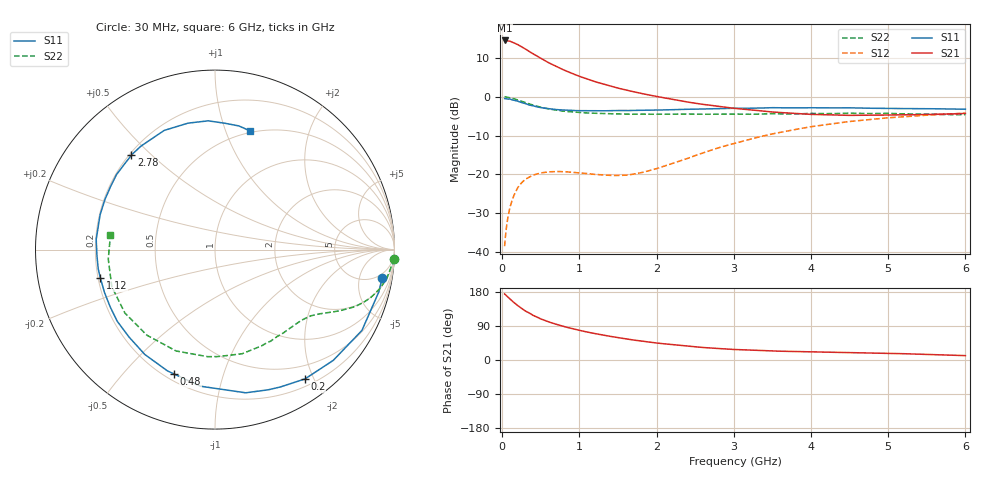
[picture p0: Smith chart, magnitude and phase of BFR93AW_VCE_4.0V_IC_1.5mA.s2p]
! Infineon Technologies  Discrete & RF Semiconductors
! BFR93AW
! VCE =  4.0 V,  IC =  1.5 mA
! Common Emitter S-Parameters:  Nov 2015
# GHz  S  MA  R  50
!  f  S11  S21  S12  S22
! GHz  MAG  ANG  MAG  ANG  MAG  ANG  MAG  ANG
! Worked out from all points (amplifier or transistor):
!   206 points, 30 MHz to 6 GHz, reference 50 ohm
!   highest |S21| = 14.4 dB at 30 MHz (marker M1)
!   |S21| within 3 dB of that: start of sweep to 362.3 MHz
!   unconditionally stable (mu >= 1): 1.302 GHz to 2.351 GHz; 5.747 GHz to end of sweep
!   at 200 MHz: K = 0.15, MSG = 18.4 dB, |S12| = -23.4 dB
!   at 1.56 GHz: K = 1.17, MAG = 8.6 dB, |S12| = -20.2 dB
!   at 6 GHz: K = 1.00, MAG = -0.5 dB, |S12| = -4.2 dB
!   S11 on the Smith chart (normalised r, x): 30 MHz: 4, -11; 200 MHz: 0.30, -1.88; 480 MHz: 0.24, -0.70; 1.12 GHz: 0.21, -0.12; 2.78 GHz: 0.21, +0.43; 6 GHz: 0.48, +1.22
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0.03  0.9445 -9.6  5.273 174.3  0.012 83.0  1 -3.0
0.055  0.9392 -15.9  5.228 169.3  0.0215 80.7  0.988 -5.2
0.1  0.9343 -28.8  5.158 161.0  0.0381 74.7  0.9706 -9.5
0.15  0.9029 -43.1  4.928 151.7  0.0537 66.4  0.9414 -13.6
0.2  0.8777 -55.2  4.666 143.6  0.0678 59.6  0.908 -17.1
0.24  0.8472 -64.7  4.43 137.4  0.0761 54.9  0.879 -19.5
0.3  0.816 -77.9  4.091 129.2  0.087 49.0  0.8376 -22.4
0.4  0.7653 -96.2  3.546 117.7  0.0984 41.7  0.7767 -26.0
0.48  0.7294 -108.2  3.19 110.3  0.1036 37.0  0.7392 -28.1
0.5  0.7258 -111.4  3.11 108.2  0.105 35.9  0.73 -28.6
0.6  0.7031 -123.8  2.731 100.5  0.1082 32.1  0.6959 -30.7
0.7  0.6833 -134.4  2.443 94.1  0.1093 29.6  0.671 -32.6
0.8  0.6753 -143.8  2.195 88.0  0.1089 28.4  0.6495 -34.6
1.04  0.6586 -161.2  1.767 76.4  0.104 28.4  0.6222 -39.4
1.12  0.6582 -166.2  1.658 72.8  0.1024 29.3  0.6157 -41.3
1.5  0.6642 175.0  1.287 59.0  0.0971 40.7  0.601 -50.3
2.02  0.674 154.8  0.998 44.3  0.1208 62.3  0.5955 -64.7
2.78  0.7024 131.5  0.756 30.6  0.2171 72.5  0.5959 -87.6
3.1  0.7089 123.0  0.694 27.0  0.266 70.4  0.5951 -97.3
4.1  0.7186 100.3  0.589 21.1  0.4242 56.6  0.6064 -131.8
5.1  0.7044 84.1  0.583 17.1  0.5432 39.8  0.6051 -163.1
6  0.6897 73.5  0.608 11.5  0.6142 26.5  0.588 172.3
